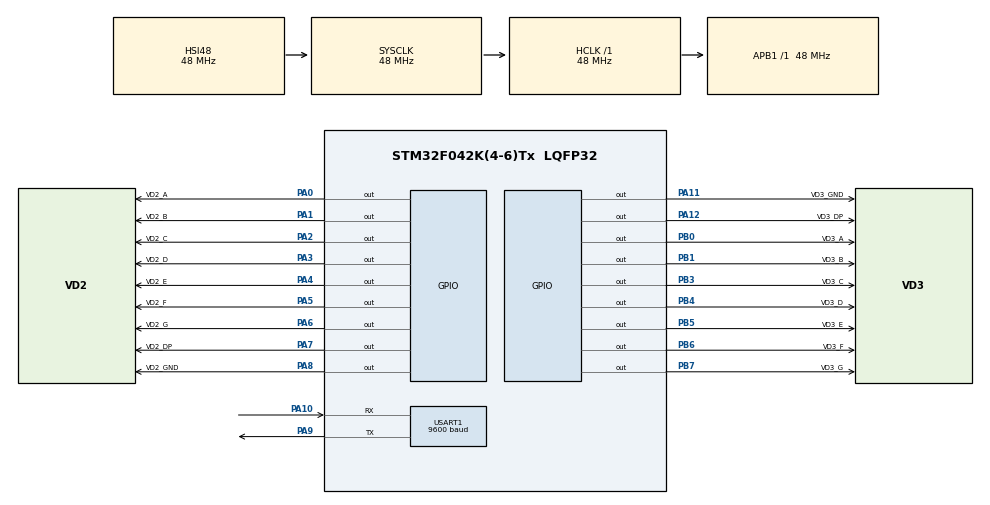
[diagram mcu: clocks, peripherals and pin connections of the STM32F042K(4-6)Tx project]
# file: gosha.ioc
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Mcu.Family=STM32F0
PA10.Mode=Asynchronous
USART1.BaudRate=9600
PA0.GPIO_Label=VD2_A
PA11.GPIO_Label=VD3_GND
PA6.GPIO_Label=VD2_G
PB0.GPIO_Label=VD3_A
PB6.GPIO_Label=VD3_F
VP_TIM16_VS_ClockSourceINT.Mode=Enable_Timer
NVIC.TIM16_IRQn=true\:0\:0\:false\:false\:true\:true\:true
PA12.GPIO_Label=VD3_DP
RCC.SYSCLKSource=RCC_SYSCLKSOURCE_HSI48
ProjectManager.StackSize=0x400
USART1.VirtualMode-Asynchronous=VM_ASYNC
PA13.Signal=SYS_SWDIO
PA9.Mode=Asynchronous
PA12.Signal=GPIO_Output
PA8.GPIO_Label=VD2_GND
ProjectManager.TargetToolchain=STM32CubeIDE
RCC.HCLKFreq_Value=48000000
PA9.Signal=USART1_TX
PB6.Signal=GPIO_Output
PA1.Signal=GPIO_Output
RCC.AHBFreq_Value=48000000
PA5.Signal=GPIO_Output
board=custom
TIM16.Period=1000
PB4.GPIO_Label=VD3_D
PA14.Mode=Serial_Wire
PB1.GPIO_Label=VD3_B
PA1.GPIO_Label=VD2_B
PB7.Signal=GPIO_Output
PA8.Signal=GPIO_Output
PA13.Mode=Serial_Wire
Mcu.Name=STM32F042K(4-6)Tx
PA2.Signal=GPIO_Output
PA0.Signal=GPIO_Output
PB7.GPIO_Label=VD3_G
PB3.Signal=GPIO_Output
PA4.Signal=GPIO_Output
RCC.SYSCLKFreq_VALUE=48000000
Mcu.Package=LQFP32
PB5.Signal=GPIO_Output
PA6.Signal=GPIO_Output
PB1.Signal=GPIO_Output
PA7.GPIO_Label=VD2_DP
PA5.GPIO_Label=VD2_F
PA2.GPIO_Label=VD2_C
PA11.Signal=GPIO_Output
PA10.Signal=USART1_RX
PA14.Signal=SYS_SWCLK
ProjectManager.HeapSize=0x200
PB5.GPIO_Label=VD3_E
RCC.APB1TimFreq_Value=48000000
TIM16.Prescaler=48000-1
RCC.APB1Freq_Value=48000000
PB0.Signal=GPIO_Output
PA4.GPIO_Label=VD2_E
PB4.Signal=GPIO_Output
PA3.GPIO_Label=VD2_D
PA3.Signal=GPIO_Output
PA7.Signal=GPIO_Output
PB3.GPIO_Label=VD3_C

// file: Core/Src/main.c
/* USER CODE BEGIN Header */
/**
  ******************************************************************************
  * @file           : main.c
  * @brief          : Main program body
  ******************************************************************************
  * @attention
  *
  * <h2><center>&copy; Copyright (c) 2021 STMicroelectronics.
  * All rights reserved.</center></h2>
  *
  * This software component is licensed by ST under BSD 3-Clause license,
  * the "License"; You may not use this file except in compliance with the
  * License. You may obtain a copy of the License at:
  *                        opensource.org/licenses/BSD-3-Clause
  *
  ******************************************************************************
  */
/* USER CODE END Header */
#include "main.h"
/* USER CODE BEGIN Includes */
#include <string.h>
#include <stdlib.h>
#include <stdio.h>
/* USER CODE END Includes */

TIM_HandleTypeDef htim16;

UART_HandleTypeDef huart1;

void SystemClock_Config(void);
static void MX_GPIO_Init(void);
static void MX_USART1_UART_Init(void);
static void MX_TIM16_Init(void);

/* USER CODE BEGIN 0 */

void _PrintVD2(uint8_t num){
	if(num == 0){
		  HAL_GPIO_WritePin(VD2_A_GPIO_Port, VD2_A_Pin, GPIO_PIN_SET);
		  HAL_GPIO_WritePin(VD2_B_GPIO_Port, VD2_B_Pin, GPIO_PIN_SET);
		  HAL_GPIO_WritePin(VD2_C_GPIO_Port, VD2_C_Pin, GPIO_PIN_SET);
		  HAL_GPIO_WritePin(VD2_D_GPIO_Port, VD2_D_Pin, GPIO_PIN_SET);
		  HAL_GPIO_WritePin(VD2_E_GPIO_Port, VD2_E_Pin, GPIO_PIN_SET);
		  HAL_GPIO_WritePin(VD2_F_GPIO_Port, VD2_F_Pin, GPIO_PIN_SET);
		  HAL_GPIO_WritePin(VD2_G_GPIO_Port, VD2_G_Pin, GPIO_PIN_RESET);
	} else if(num == 1){
		  HAL_GPIO_WritePin(VD2_A_GPIO_Port, VD2_A_Pin, GPIO_PIN_RESET);
		  HAL_GPIO_WritePin(VD2_B_GPIO_Port, VD2_B_Pin, GPIO_PIN_SET);
		  HAL_GPIO_WritePin(VD2_C_GPIO_Port, VD2_C_Pin, GPIO_PIN_SET);
		  HAL_GPIO_WritePin(VD2_D_GPIO_Port, VD2_D_Pin, GPIO_PIN_RESET);
		  HAL_GPIO_WritePin(VD2_E_GPIO_Port, VD2_E_Pin, GPIO_PIN_RESET);
		  HAL_GPIO_WritePin(VD2_F_GPIO_Port, VD2_F_Pin, GPIO_PIN_RESET);
		  HAL_GPIO_WritePin(VD2_G_GPIO_Port, VD2_G_Pin, GPIO_PIN_RESET);
	} else if(num == 2){
		  HAL_GPIO_WritePin(VD2_A_GPIO_Port, VD2_A_Pin, GPIO_PIN_SET);
		  HAL_GPIO_WritePin(VD2_B_GPIO_Port, VD2_B_Pin, GPIO_PIN_SET);
		  HAL_GPIO_WritePin(VD2_C_GPIO_Port, VD2_C_Pin, GPIO_PIN_RESET);
		  HAL_GPIO_WritePin(VD2_D_GPIO_Port, VD2_D_Pin, GPIO_PIN_SET);
		  HAL_GPIO_WritePin(VD2_E_GPIO_Port, VD2_E_Pin, GPIO_PIN_SET);
		  HAL_GPIO_WritePin(VD2_F_GPIO_Port, VD2_F_Pin, GPIO_PIN_RESET);
		  HAL_GPIO_WritePin(VD2_G_GPIO_Port, VD2_G_Pin, GPIO_PIN_SET);
	} else if(num == 3){
		  HAL_GPIO_WritePin(VD2_A_GPIO_Port, VD2_A_Pin, GPIO_PIN_SET);
		  HAL_GPIO_WritePin(VD2_B_GPIO_Port, VD2_B_Pin, GPIO_PIN_SET);
		  HAL_GPIO_WritePin(VD2_C_GPIO_Port, VD2_C_Pin, GPIO_PIN_SET);
		  HAL_GPIO_WritePin(VD2_D_GPIO_Port, VD2_D_Pin, GPIO_PIN_SET);
		  HAL_GPIO_WritePin(VD2_E_GPIO_Port, VD2_E_Pin, GPIO_PIN_RESET);
		  HAL_GPIO_WritePin(VD2_F_GPIO_Port, VD2_F_Pin, GPIO_PIN_RESET);
		  HAL_GPIO_WritePin(VD2_G_GPIO_Port, VD2_G_Pin, GPIO_PIN_SET);
	} else if(num == 4){
		  HAL_GPIO_WritePin(VD2_A_GPIO_Port, VD2_A_Pin, GPIO_PIN_RESET);
		  HAL_GPIO_WritePin(VD2_B_GPIO_Port, VD2_B_Pin, GPIO_PIN_SET);
		  HAL_GPIO_WritePin(VD2_C_GPIO_Port, VD2_C_Pin, GPIO_PIN_SET);
		  HAL_GPIO_WritePin(VD2_D_GPIO_Port, VD2_D_Pin, GPIO_PIN_RESET);
		  HAL_GPIO_WritePin(VD2_E_GPIO_Port, VD2_E_Pin, GPIO_PIN_RESET);
		  HAL_GPIO_WritePin(VD2_F_GPIO_Port, VD2_F_Pin, GPIO_PIN_SET);
		  HAL_GPIO_WritePin(VD2_G_GPIO_Port, VD2_G_Pin, GPIO_PIN_SET);
	} else if(num == 5){
		  HAL_GPIO_WritePin(VD2_A_GPIO_Port, VD2_A_Pin, GPIO_PIN_SET);
		  HAL_GPIO_WritePin(VD2_B_GPIO_Port, VD2_B_Pin, GPIO_PIN_RESET);
		  HAL_GPIO_WritePin(VD2_C_GPIO_Port, VD2_C_Pin, GPIO_PIN_SET);
		  HAL_GPIO_WritePin(VD2_D_GPIO_Port, VD2_D_Pin, GPIO_PIN_SET);
		  HAL_GPIO_WritePin(VD2_E_GPIO_Port, VD2_E_Pin, GPIO_PIN_RESET);
		  HAL_GPIO_WritePin(VD2_F_GPIO_Port, VD2_F_Pin, GPIO_PIN_SET);
		  HAL_GPIO_WritePin(VD2_G_GPIO_Port, VD2_G_Pin, GPIO_PIN_SET);
	} else if(num == 6){
		  HAL_GPIO_WritePin(VD2_A_GPIO_Port, VD2_A_Pin, GPIO_PIN_SET);
		  HAL_GPIO_WritePin(VD2_B_GPIO_Port, VD2_B_Pin, GPIO_PIN_RESET);
		  HAL_GPIO_WritePin(VD2_C_GPIO_Port, VD2_C_Pin, GPIO_PIN_SET);
		  HAL_GPIO_WritePin(VD2_D_GPIO_Port, VD2_D_Pin, GPIO_PIN_SET);
		  HAL_GPIO_WritePin(VD2_E_GPIO_Port, VD2_E_Pin, GPIO_PIN_SET);
		  HAL_GPIO_WritePin(VD2_F_GPIO_Port, VD2_F_Pin, GPIO_PIN_SET);
		  HAL_GPIO_WritePin(VD2_G_GPIO_Port, VD2_G_Pin, GPIO_PIN_SET);
	} else if(num == 7){
		  HAL_GPIO_WritePin(VD2_A_GPIO_Port, VD2_A_Pin, GPIO_PIN_SET);
		  HAL_GPIO_WritePin(VD2_B_GPIO_Port, VD2_B_Pin, GPIO_PIN_SET);
		  HAL_GPIO_WritePin(VD2_C_GPIO_Port, VD2_C_Pin, GPIO_PIN_SET);
		  HAL_GPIO_WritePin(VD2_D_GPIO_Port, VD2_D_Pin, GPIO_PIN_RESET);
		  HAL_GPIO_WritePin(VD2_E_GPIO_Port, VD2_E_Pin, GPIO_PIN_RESET);
		  HAL_GPIO_WritePin(VD2_F_GPIO_Port, VD2_F_Pin, GPIO_PIN_RESET);
		  HAL_GPIO_WritePin(VD2_G_GPIO_Port, VD2_G_Pin, GPIO_PIN_RESET);
	} else if(num == 8){
		  HAL_GPIO_WritePin(VD2_A_GPIO_Port, VD2_A_Pin, GPIO_PIN_SET);
		  HAL_GPIO_WritePin(VD2_B_GPIO_Port, VD2_B_Pin, GPIO_PIN_SET);
		  HAL_GPIO_WritePin(VD2_C_GPIO_Port, VD2_C_Pin, GPIO_PIN_SET);
		  HAL_GPIO_WritePin(VD2_D_GPIO_Port, VD2_D_Pin, GPIO_PIN_SET);
		  HAL_GPIO_WritePin(VD2_E_GPIO_Port, VD2_E_Pin, GPIO_PIN_SET);
		  HAL_GPIO_WritePin(VD2_F_GPIO_Port, VD2_F_Pin, GPIO_PIN_SET);
		  HAL_GPIO_WritePin(VD2_G_GPIO_Port, VD2_G_Pin, GPIO_PIN_SET);
	} else if(num == 9){
		  HAL_GPIO_WritePin(VD2_A_GPIO_Port, VD2_A_Pin, GPIO_PIN_SET);
		  HAL_GPIO_WritePin(VD2_B_GPIO_Port, VD2_B_Pin, GPIO_PIN_SET);
		  HAL_GPIO_WritePin(VD2_C_GPIO_Port, VD2_C_Pin, GPIO_PIN_SET);
		  HAL_GPIO_WritePin(VD2_D_GPIO_Port, VD2_D_Pin, GPIO_PIN_SET);
		  HAL_GPIO_WritePin(VD2_E_GPIO_Port, VD2_E_Pin, GPIO_PIN_RESET);
		  HAL_GPIO_WritePin(VD2_F_GPIO_Port, VD2_F_Pin, GPIO_PIN_SET);
		  HAL_GPIO_WritePin(VD2_G_GPIO_Port, VD2_G_Pin, GPIO_PIN_SET);
	} else if(num == 10){
		  HAL_GPIO_WritePin(VD2_DP_GPIO_Port, VD2_DP_Pin, GPIO_PIN_SET);
	} else if(num == 11){
		  HAL_GPIO_WritePin(VD2_DP_GPIO_Port, VD2_DP_Pin, GPIO_PIN_RESET);
	} else if(num == 12){
		HAL_GPIO_TogglePin(VD2_DP_GPIO_Port, VD2_DP_Pin);
	}
}

void _PrintVD3(uint8_t num){
	if(num == 0){
		  HAL_GPIO_WritePin(VD3_A_GPIO_Port, VD3_A_Pin, GPIO_PIN_SET);
		  HAL_GPIO_WritePin(VD3_B_GPIO_Port, VD3_B_Pin, GPIO_PIN_SET);
		  HAL_GPIO_WritePin(VD3_C_GPIO_Port, VD3_C_Pin, GPIO_PIN_SET);
		  HAL_GPIO_WritePin(VD3_D_GPIO_Port, VD3_D_Pin, GPIO_PIN_SET);
		  HAL_GPIO_WritePin(VD3_E_GPIO_Port, VD3_E_Pin, GPIO_PIN_SET);
		  HAL_GPIO_WritePin(VD3_F_GPIO_Port, VD3_F_Pin, GPIO_PIN_SET);
		  HAL_GPIO_WritePin(VD3_G_GPIO_Port, VD3_G_Pin, GPIO_PIN_RESET);
	} else if(num == 1){
		  HAL_GPIO_WritePin(VD3_A_GPIO_Port, VD3_A_Pin, GPIO_PIN_RESET);
		  HAL_GPIO_WritePin(VD3_B_GPIO_Port, VD3_B_Pin, GPIO_PIN_SET);
		  HAL_GPIO_WritePin(VD3_C_GPIO_Port, VD3_C_Pin, GPIO_PIN_SET);
		  HAL_GPIO_WritePin(VD3_D_GPIO_Port, VD3_D_Pin, GPIO_PIN_RESET);
		  HAL_GPIO_WritePin(VD3_E_GPIO_Port, VD3_E_Pin, GPIO_PIN_RESET);
		  HAL_GPIO_WritePin(VD3_F_GPIO_Port, VD3_F_Pin, GPIO_PIN_RESET);
		  HAL_GPIO_WritePin(VD3_G_GPIO_Port, VD3_G_Pin, GPIO_PIN_RESET);
	} else if(num == 2){
		  HAL_GPIO_WritePin(VD3_A_GPIO_Port, VD3_A_Pin, GPIO_PIN_SET);
		  HAL_GPIO_WritePin(VD3_B_GPIO_Port, VD3_B_Pin, GPIO_PIN_SET);
		  HAL_GPIO_WritePin(VD3_C_GPIO_Port, VD3_C_Pin, GPIO_PIN_RESET);
		  HAL_GPIO_WritePin(VD3_D_GPIO_Port, VD3_D_Pin, GPIO_PIN_SET);
		  HAL_GPIO_WritePin(VD3_E_GPIO_Port, VD3_E_Pin, GPIO_PIN_SET);
		  HAL_GPIO_WritePin(VD3_F_GPIO_Port, VD3_F_Pin, GPIO_PIN_RESET);
		  HAL_GPIO_WritePin(VD3_G_GPIO_Port, VD3_G_Pin, GPIO_PIN_SET);
	} else if(num == 3){
		  HAL_GPIO_WritePin(VD3_A_GPIO_Port, VD3_A_Pin, GPIO_PIN_SET);
		  HAL_GPIO_WritePin(VD3_B_GPIO_Port, VD3_B_Pin, GPIO_PIN_SET);
		  HAL_GPIO_WritePin(VD3_C_GPIO_Port, VD3_C_Pin, GPIO_PIN_SET);
		  HAL_GPIO_WritePin(VD3_D_GPIO_Port, VD3_D_Pin, GPIO_PIN_SET);
		  HAL_GPIO_WritePin(VD3_E_GPIO_Port, VD3_E_Pin, GPIO_PIN_RESET);
		  HAL_GPIO_WritePin(VD3_F_GPIO_Port, VD3_F_Pin, GPIO_PIN_RESET);
		  HAL_GPIO_WritePin(VD3_G_GPIO_Port, VD3_G_Pin, GPIO_PIN_SET);
	} else if(num == 4){
		  HAL_GPIO_WritePin(VD3_A_GPIO_Port, VD3_A_Pin, GPIO_PIN_RESET);
		  HAL_GPIO_WritePin(VD3_B_GPIO_Port, VD3_B_Pin, GPIO_PIN_SET);
		  HAL_GPIO_WritePin(VD3_C_GPIO_Port, VD3_C_Pin, GPIO_PIN_SET);
		  HAL_GPIO_WritePin(VD3_D_GPIO_Port, VD3_D_Pin, GPIO_PIN_RESET);
		  HAL_GPIO_WritePin(VD3_E_GPIO_Port, VD3_E_Pin, GPIO_PIN_RESET);
		  HAL_GPIO_WritePin(VD3_F_GPIO_Port, VD3_F_Pin, GPIO_PIN_SET);
		  HAL_GPIO_WritePin(VD3_G_GPIO_Port, VD3_G_Pin, GPIO_PIN_SET);
	} else if(num == 5){
		  HAL_GPIO_WritePin(VD3_A_GPIO_Port, VD3_A_Pin, GPIO_PIN_SET);
		  HAL_GPIO_WritePin(VD3_B_GPIO_Port, VD3_B_Pin, GPIO_PIN_RESET);
		  HAL_GPIO_WritePin(VD3_C_GPIO_Port, VD3_C_Pin, GPIO_PIN_SET);
		  HAL_GPIO_WritePin(VD3_D_GPIO_Port, VD3_D_Pin, GPIO_PIN_SET);
		  HAL_GPIO_WritePin(VD3_E_GPIO_Port, VD3_E_Pin, GPIO_PIN_RESET);
		  HAL_GPIO_WritePin(VD3_F_GPIO_Port, VD3_F_Pin, GPIO_PIN_SET);
		  HAL_GPIO_WritePin(VD3_G_GPIO_Port, VD3_G_Pin, GPIO_PIN_SET);
	} else if(num == 6){
		  HAL_GPIO_WritePin(VD3_A_GPIO_Port, VD3_A_Pin, GPIO_PIN_SET);
		  HAL_GPIO_WritePin(VD3_B_GPIO_Port, VD3_B_Pin, GPIO_PIN_RESET);
		  HAL_GPIO_WritePin(VD3_C_GPIO_Port, VD3_C_Pin, GPIO_PIN_SET);
		  HAL_GPIO_WritePin(VD3_D_GPIO_Port, VD3_D_Pin, GPIO_PIN_SET);
		  HAL_GPIO_WritePin(VD3_E_GPIO_Port, VD3_E_Pin, GPIO_PIN_SET);
		  HAL_GPIO_WritePin(VD3_F_GPIO_Port, VD3_F_Pin, GPIO_PIN_SET);
		  HAL_GPIO_WritePin(VD3_G_GPIO_Port, VD3_G_Pin, GPIO_PIN_SET);
	} else if(num == 7){
		  HAL_GPIO_WritePin(VD3_A_GPIO_Port, VD3_A_Pin, GPIO_PIN_SET);
		  HAL_GPIO_WritePin(VD3_B_GPIO_Port, VD3_B_Pin, GPIO_PIN_SET);
		  HAL_GPIO_WritePin(VD3_C_GPIO_Port, VD3_C_Pin, GPIO_PIN_SET);
		  HAL_GPIO_WritePin(VD3_D_GPIO_Port, VD3_D_Pin, GPIO_PIN_RESET);
		  HAL_GPIO_WritePin(VD3_E_GPIO_Port, VD3_E_Pin, GPIO_PIN_RESET);
		  HAL_GPIO_WritePin(VD3_F_GPIO_Port, VD3_F_Pin, GPIO_PIN_RESET);
		  HAL_GPIO_WritePin(VD3_G_GPIO_Port, VD3_G_Pin, GPIO_PIN_RESET);
	} else if(num == 8){
		  HAL_GPIO_WritePin(VD3_A_GPIO_Port, VD3_A_Pin, GPIO_PIN_SET);
		  HAL_GPIO_WritePin(VD3_B_GPIO_Port, VD3_B_Pin, GPIO_PIN_SET);
		  HAL_GPIO_WritePin(VD3_C_GPIO_Port, VD3_C_Pin, GPIO_PIN_SET);
		  HAL_GPIO_WritePin(VD3_D_GPIO_Port, VD3_D_Pin, GPIO_PIN_SET);
		  HAL_GPIO_WritePin(VD3_E_GPIO_Port, VD3_E_Pin, GPIO_PIN_SET);
		  HAL_GPIO_WritePin(VD3_F_GPIO_Port, VD3_F_Pin, GPIO_PIN_SET);
		  HAL_GPIO_WritePin(VD3_G_GPIO_Port, VD3_G_Pin, GPIO_PIN_SET);
	} else if(num == 9){
		  HAL_GPIO_WritePin(VD3_A_GPIO_Port, VD3_A_Pin, GPIO_PIN_SET);
		  HAL_GPIO_WritePin(VD3_B_GPIO_Port, VD3_B_Pin, GPIO_PIN_SET);
		  HAL_GPIO_WritePin(VD3_C_GPIO_Port, VD3_C_Pin, GPIO_PIN_SET);
		  HAL_GPIO_WritePin(VD3_D_GPIO_Port, VD3_D_Pin, GPIO_PIN_SET);
		  HAL_GPIO_WritePin(VD3_E_GPIO_Port, VD3_E_Pin, GPIO_PIN_RESET);
		  HAL_GPIO_WritePin(VD3_F_GPIO_Port, VD3_F_Pin, GPIO_PIN_SET);
		  HAL_GPIO_WritePin(VD3_G_GPIO_Port, VD3_G_Pin, GPIO_PIN_SET);
	} else if(num == 10){
		  HAL_GPIO_WritePin(VD3_DP_GPIO_Port, VD3_DP_Pin, GPIO_PIN_SET);
	} else if(num == 11){
		  HAL_GPIO_WritePin(VD3_DP_GPIO_Port, VD3_DP_Pin, GPIO_PIN_RESET);
	} else if(num == 12){
		HAL_GPIO_TogglePin(VD3_DP_GPIO_Port, VD3_DP_Pin);
	}
}

uint8_t TimeCounter;
uint8_t flagstop = 0;
void HAL_TIM_PeriodElapsedCallback(TIM_HandleTypeDef *htim){
	if(TimeCounter < 99){
		TimeCounter++;
		char str[64] = {0};
		sprintf(str, "timer: %d sec.\r\n", TimeCounter);
		HAL_UART_Transmit(&huart1, str, strlen(str), -1);
	} else {
		if(flagstop == 0){
			flagstop = 1;
		}
		_PrintVD3(12);
	}
	if(flagstop == 1){
		flagstop = 2;
		char str[64] = {0};
		sprintf(str, "timer: stop\r\n");
		HAL_UART_Transmit(&huart1, str, strlen(str), -1);
	}

}

/* USER CODE END 0 */

int main(void)
{

  /* MCU Configuration--------------------------------------------------------*/

  /* Reset of all peripherals, Initializes the Flash interface and the Systick. */
  HAL_Init();

  /* Configure the system clock */
  SystemClock_Config();

  /* Initialize all configured peripherals */
  MX_GPIO_Init();
  MX_USART1_UART_Init();
  MX_TIM16_Init();
  /* USER CODE BEGIN 2 */
  HAL_TIM_Base_Start_IT(&htim16);
  HAL_GPIO_WritePin(VD2_GND_GPIO_Port, VD2_GND_Pin, GPIO_PIN_SET);
  HAL_GPIO_WritePin(VD3_GND_GPIO_Port, VD3_GND_Pin, GPIO_PIN_SET);

  TimeCounter=0;

  /* USER CODE END 2 */

  /* Infinite loop */
  /* USER CODE BEGIN WHILE */
  while (1)
  {

	  _PrintVD2(TimeCounter / 10);
	  _PrintVD3(TimeCounter % 10);

    /* USER CODE END WHILE */

  }
}

void SystemClock_Config(void)
{
  RCC_OscInitTypeDef RCC_OscInitStruct = {0};
  RCC_ClkInitTypeDef RCC_ClkInitStruct = {0};
  RCC_PeriphCLKInitTypeDef PeriphClkInit = {0};

  /** Initializes the RCC Oscillators according to the specified parameters
  * in the RCC_OscInitTypeDef structure.
  */
  RCC_OscInitStruct.OscillatorType = RCC_OSCILLATORTYPE_HSI48;
  RCC_OscInitStruct.HSI48State = RCC_HSI48_ON;
  RCC_OscInitStruct.PLL.PLLState = RCC_PLL_NONE;
  if (HAL_RCC_OscConfig(&RCC_OscInitStruct) != HAL_OK)
  {
    Error_Handler();
  }
  /** Initializes the CPU, AHB and APB buses clocks
  */
  RCC_ClkInitStruct.ClockType = RCC_CLOCKTYPE_HCLK|RCC_CLOCKTYPE_SYSCLK
                              |RCC_CLOCKTYPE_PCLK1;
  RCC_ClkInitStruct.SYSCLKSource = RCC_SYSCLKSOURCE_HSI48;
  RCC_ClkInitStruct.AHBCLKDivider = RCC_SYSCLK_DIV1;
  RCC_ClkInitStruct.APB1CLKDivider = RCC_HCLK_DIV1;

  if (HAL_RCC_ClockConfig(&RCC_ClkInitStruct, FLASH_LATENCY_1) != HAL_OK)
  {
    Error_Handler();
  }
  PeriphClkInit.PeriphClockSelection = RCC_PERIPHCLK_USART1;
  PeriphClkInit.Usart1ClockSelection = RCC_USART1CLKSOURCE_PCLK1;
  if (HAL_RCCEx_PeriphCLKConfig(&PeriphClkInit) != HAL_OK)
  {
    Error_Handler();
  }
}

static void MX_TIM16_Init(void)
{

  htim16.Instance = TIM16;
  htim16.Init.Prescaler = 48000-1;
  htim16.Init.CounterMode = TIM_COUNTERMODE_UP;
  htim16.Init.Period = 1000;
  htim16.Init.ClockDivision = TIM_CLOCKDIVISION_DIV1;
  htim16.Init.RepetitionCounter = 0;
  htim16.Init.AutoReloadPreload = TIM_AUTORELOAD_PRELOAD_DISABLE;
  if (HAL_TIM_Base_Init(&htim16) != HAL_OK)
  {
    Error_Handler();
  }

}

static void MX_USART1_UART_Init(void)
{

  huart1.Instance = USART1;
  huart1.Init.BaudRate = 9600;
  huart1.Init.WordLength = UART_WORDLENGTH_8B;
  huart1.Init.StopBits = UART_STOPBITS_1;
  huart1.Init.Parity = UART_PARITY_NONE;
  huart1.Init.Mode = UART_MODE_TX_RX;
  huart1.Init.HwFlowCtl = UART_HWCONTROL_NONE;
  huart1.Init.OverSampling = UART_OVERSAMPLING_16;
  huart1.Init.OneBitSampling = UART_ONE_BIT_SAMPLE_DISABLE;
  huart1.AdvancedInit.AdvFeatureInit = UART_ADVFEATURE_NO_INIT;
  if (HAL_UART_Init(&huart1) != HAL_OK)
  {
    Error_Handler();
  }

}

static void MX_GPIO_Init(void)
{
  GPIO_InitTypeDef GPIO_InitStruct = {0};

  /* GPIO Ports Clock Enable */
  __HAL_RCC_GPIOA_CLK_ENABLE();
  __HAL_RCC_GPIOB_CLK_ENABLE();

  /*Configure GPIO pin Output Level */
  HAL_GPIO_WritePin(GPIOA, VD2_A_Pin|VD2_B_Pin|VD2_C_Pin|VD2_D_Pin
                          |VD2_E_Pin|VD2_F_Pin|VD2_G_Pin|VD2_DP_Pin
                          |VD2_GND_Pin|VD3_GND_Pin|VD3_DP_Pin, GPIO_PIN_RESET);

  /*Configure GPIO pin Output Level */
  HAL_GPIO_WritePin(GPIOB, VD3_A_Pin|VD3_B_Pin|VD3_C_Pin|VD3_D_Pin
                          |VD3_E_Pin|VD3_F_Pin|VD3_G_Pin, GPIO_PIN_RESET);

  /*Configure GPIO pins : VD2_A_Pin VD2_B_Pin VD2_C_Pin VD2_D_Pin
                           VD2_E_Pin VD2_F_Pin VD2_G_Pin VD2_DP_Pin
                           VD2_GND_Pin VD3_GND_Pin VD3_DP_Pin */
  GPIO_InitStruct.Pin = VD2_A_Pin|VD2_B_Pin|VD2_C_Pin|VD2_D_Pin
                          |VD2_E_Pin|VD2_F_Pin|VD2_G_Pin|VD2_DP_Pin
                          |VD2_GND_Pin|VD3_GND_Pin|VD3_DP_Pin;
  GPIO_InitStruct.Mode = GPIO_MODE_OUTPUT_PP;
  GPIO_InitStruct.Pull = GPIO_NOPULL;
  GPIO_InitStruct.Speed = GPIO_SPEED_FREQ_LOW;
  HAL_GPIO_Init(GPIOA, &GPIO_InitStruct);

  /*Configure GPIO pins : VD3_A_Pin VD3_B_Pin VD3_C_Pin VD3_D_Pin
                           VD3_E_Pin VD3_F_Pin VD3_G_Pin */
  GPIO_InitStruct.Pin = VD3_A_Pin|VD3_B_Pin|VD3_C_Pin|VD3_D_Pin
                          |VD3_E_Pin|VD3_F_Pin|VD3_G_Pin;
  GPIO_InitStruct.Mode = GPIO_MODE_OUTPUT_PP;
  GPIO_InitStruct.Pull = GPIO_NOPULL;
  GPIO_InitStruct.Speed = GPIO_SPEED_FREQ_LOW;
  HAL_GPIO_Init(GPIOB, &GPIO_InitStruct);

}

void Error_Handler(void)
{
  __disable_irq();
  while (1)
  {
  }
}

/************************ (C) COPYRIGHT STMicroelectronics *****END OF FILE****/
